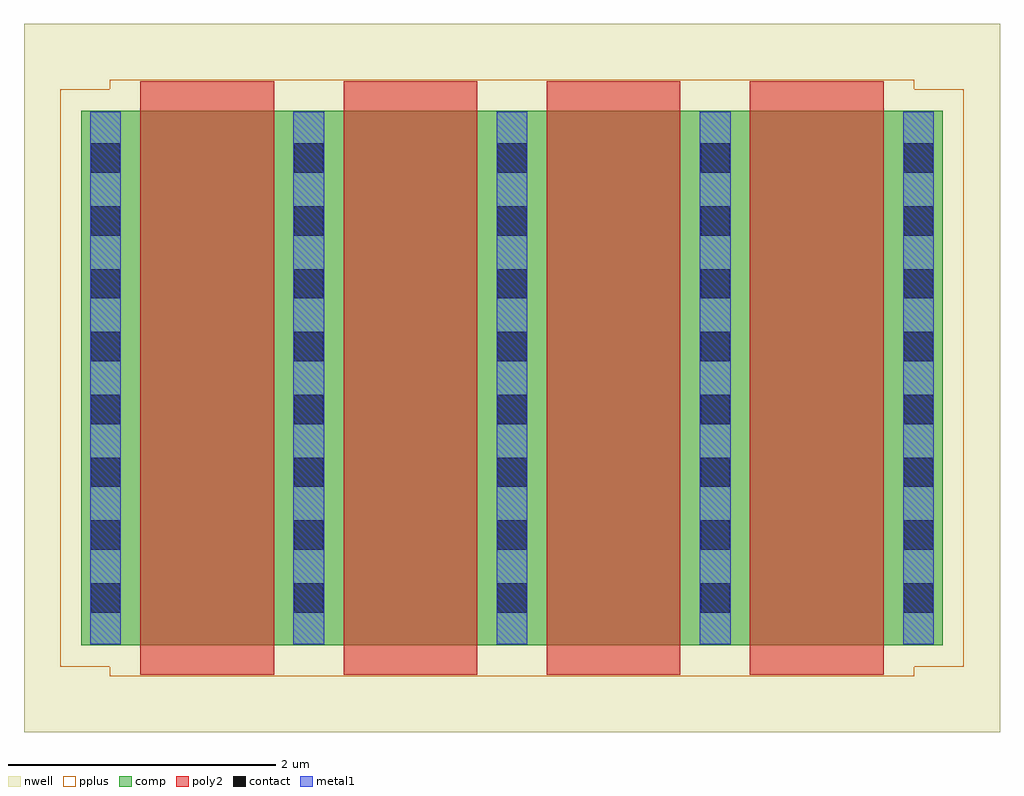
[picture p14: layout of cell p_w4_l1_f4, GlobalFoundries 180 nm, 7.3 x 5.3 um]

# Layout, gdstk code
import gdstk
lib = gdstk.Library(unit=1e-6, precision=1e-09)
def R(c, l, rs):  # rectangles x0, y0, x1, y1
    for r in rs: c.add(gdstk.rectangle(r[:2], r[2:], *l))
def A(c, l, x, y, w, h, nx, ny, dx, dy):  # array of equal rectangles
    R(c, l, [(x+i*dx, y+j*dy, x+i*dx+w, y+j*dy+h) for i in range(nx) for j in range(ny)])
nwell = (21, 0)
comp = (22, 0)
poly2 = (30, 0)
pplus = (31, 0)
contact = (33, 0)
metal1 = (34, 0)

p_w4_l1_f4 = lib.new_cell('p_w4_l1_f4')
R(p_w4_l1_f4, nwell, [(-3.65,-2.65,3.65,2.65)])
R(p_w4_l1_f4, comp, [(-3.22,-2,3.22,2)])
A(p_w4_l1_f4, poly2, -2.78, -2.22, 1, 4.44, 4, 1, 1.52, 0)
R(p_w4_l1_f4, pplus, [(-3.01,-2.23,3.01,-2.16), (-3.38,-2.16,3.38,2.16), (-3.01,2.16,3.01,2.23)])
A(p_w4_l1_f4, contact, -3.15, -1.755, 0.22, 0.22, 5, 8, 1.52, 0.47)
A(p_w4_l1_f4, metal1, -3.155, -1.99, 0.23, 3.98, 5, 1, 1.52, 0)

lib.write_gds('p_w4_l1_f4.gds')
